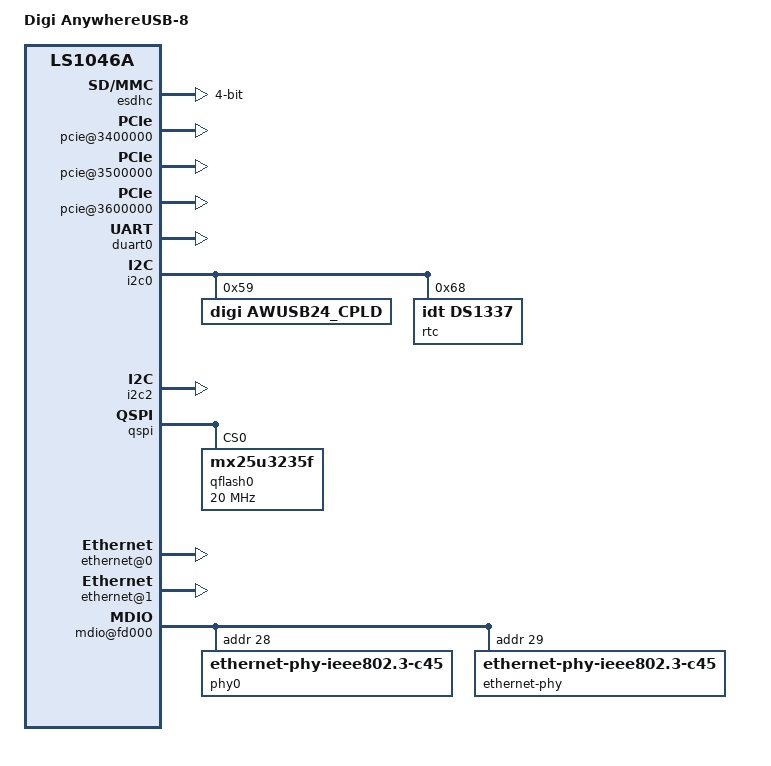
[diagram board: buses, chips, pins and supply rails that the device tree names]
// SPDX-License-Identifier: (GPL-2.0+ OR MIT)
/*
 * Device Tree Include file for Digi AnywhereUSB-8.
 *
 * Copyright 2016 Freescale Semiconductor, Inc.
 * Copyright 2018 Digi Inc.
 *
 * Mingkai Hu <mingkai.hu@nxp.com>
 * Greg Ungerer <gregory.ungerer@digi.com>
 */

/dts-v1/;

#include "fsl-ls1046a.dtsi"
#include <dt-bindings/interrupt-controller/arm-gic.h>
#include <dt-bindings/gpio/gpio.h>

/ {
	model = "Digi AnywhereUSB-8";
	compatible = "digi,anywhereusb8", "fsl,ls1046a";

	aliases {
		serial0 = &duart0;
		serial1 = &duart1;
		serial2 = &duart2;
		serial3 = &duart3;
	};

	chosen {
		stdout-path = "serial0:115200n8";
	};

	soc {
		esdhc: esdhc@1560000 {
			compatible = "fsl,ls1046a-esdhc", "fsl,esdhc";
			reg = <0x0 0x1560000 0x0 0x10000>;
			interrupts = <GIC_SPI 62 IRQ_TYPE_LEVEL_HIGH>;
			clocks = <&clockgen 2 1>;
			voltage-ranges = <1800 1800 3300 3300>;
			sdhci,auto-cmd12;
			big-endian;
			bus-width = <4>;
		};

		 pcie@3400000 {
			compatible = "fsl,ls1046a-pcie", "snps,dw-pcie";
			status = "okay";
			num-ib-windows = <6>;
			num-ob-windows = <6>;
		 };
		 pcie@3500000 {
			compatible = "fsl,ls1046a-pcie", "snps,dw-pcie";
			status = "okay";
			num-ib-windows = <6>;
			num-ob-windows = <6>;
		 };
		 pcie@3600000 {
			compatible = "fsl,ls1046a-pcie", "snps,dw-pcie";
			status = "okay";
			num-ib-windows = <6>;
			num-ob-windows = <6>;
		 };

		usb0: usb@2f00000 {
			usb3-lpm-capable;
			snps,dis-u1u2-when-u3-quirk;
			snps,incr-burst-type-adjustment = <1>, <4>, <8>, <16>;
			clock-names = "ref", "bus_early", "suspend";
			clocks = <&clockgen 4 1>, <&clockgen 4 1>,<&clockgen 4 1>;
		};

		usb1: usb@3000000 {
			usb3-lpm-capable;
			snps,dis-u1u2-when-u3-quirk;
			snps,incr-burst-type-adjustment = <1>, <4>, <8>, <16>;
			clock-names = "ref", "bus_early", "suspend";
			clocks = <&clockgen 4 1>, <&clockgen 4 1>,<&clockgen 4 1>;
		};

		usb2: usb@3100000 {
			usb3-lpm-capable;
			snps,dis-u1u2-when-u3-quirk;
			snps,incr-burst-type-adjustment = <1>, <4>, <8>, <16>;
			clock-names = "ref", "bus_early", "suspend";
			clocks = <&clockgen 4 1>, <&clockgen 4 1>,<&clockgen 4 1>;
		};
	};
};

&duart0 {
	status = "okay";
	/*dtr-gpios = <&gpio0 27 GPIO_ACTIVE_LOW>;
	dsr-gpios = <&gpio0 29 GPIO_ACTIVE_LOW>;
	dcd-gpios = <&gpio0 28 GPIO_ACTIVE_LOW>;
	rng-gpios = <&gpio0 30 GPIO_ACTIVE_LOW>;
	uart-has-rtscts;*/
};

&i2c0 {
	status = "okay";
	awusb24_cpld@59 {
		compatible = "digi,awusb24_cpld";
		reg = <0x59>;
		fan1r {
		    name = "fan1r";
		    reg = /bits/ 8 <0x32>;
		    led = /bits/ 8 <0x04>;
		    linux,default-trigger = "timer";
		};
		fan1g {
		    name = "fan1g";
		    reg = /bits/ 8 <0x32>;
		    led = /bits/ 8 <0x02>;
		    linux,default-trigger = "timer";
		};
		fan2r {
		    name = "fan2r";
		    reg = /bits/ 8 <0x33>;
		    led = /bits/ 8 <0x04>;
		    linux,default-trigger = "timer";
		};
		fan2g {
		    name = "fan2g";
		    reg = /bits/ 8 <0x33>;
		    led = /bits/ 8 <0x02>;
		    linux,default-trigger = "timer";
		};
		wansigr {
		    name = "wansigr";
		    reg = /bits/ 8 <0x34>;
		    led = /bits/ 8 <0x04>;
		    linux,default-trigger = "timer";
		};
		wansigg {
		    name = "wansigg";
		    reg = /bits/ 8 <0x34>;
		    led = /bits/ 8 <0x02>;
		    linux,default-trigger = "timer";
		};
		wanserr {
		    name = "wanserr";
		    reg = /bits/ 8 <0x35>;
		    led = /bits/ 8 <0x04>;
		    linux,default-trigger = "timer";
		};
		wanserg {
		    name = "wanserg";
		    reg = /bits/ 8 <0x35>;
		    led = /bits/ 8 <0x02>;
		    linux,default-trigger = "timer";
		};
		wifir {
		    name = "wifir";
		    reg = /bits/ 8 <0x36>;
		    led = /bits/ 8 <0x04>;
		    linux,default-trigger = "timer";
		};
		wifig {
		    name = "wifig";
		    reg = /bits/ 8 <0x36>;
		    led = /bits/ 8 <0x02>;
		    linux,default-trigger = "timer";
		};
		usrr {
		    name = "usrr";
		    reg = /bits/ 8 <0x37>;
		    led = /bits/ 8 <0x04>;
		    linux,default-trigger = "timer";
		};
		usrg {
		    name = "usrg";
		    reg = /bits/ 8 <0x37>;
		    led = /bits/ 8 <0x02>;
		    linux,default-trigger = "timer";
		};
		r01 {
		    name = "r01";
		    reg = /bits/ 8 <0x38>;
		    led = /bits/ 8 <0x04>;
		    linux,default-trigger = "timer";
		};
		g01 {
		    name = "g01";
		    reg = /bits/ 8 <0x38>;
		    led = /bits/ 8 <0x02>;
		    linux,default-trigger = "timer";
		};
		b01 {
		    name = "b01";
		    reg = /bits/ 8 <0x38>;
		    led = /bits/ 8 <0x01>;
		    linux,default-trigger = "timer";
		};
		r02 {
		    name = "r02";
		    reg = /bits/ 8 <0x39>;
		    led = /bits/ 8 <0x04>;
		    linux,default-trigger = "timer";
		};
		g02 {
		    name = "g02";
		    reg = /bits/ 8 <0x39>;
		    led = /bits/ 8 <0x02>;
		    linux,default-trigger = "timer";
		};
		b02 {
		    name = "b02";
		    reg = /bits/ 8 <0x39>;
		    led = /bits/ 8 <0x01>;
		    linux,default-trigger = "timer";
		};
		r03 {
		    name = "r03";
		    reg = /bits/ 8 <0x3a>;
		    led = /bits/ 8 <0x04>;
		    linux,default-trigger = "timer";
		};
		g03 {
		    name = "g03";
		    reg = /bits/ 8 <0x3a>;
		    led = /bits/ 8 <0x02>;
		    linux,default-trigger = "timer";
		};
		b03 {
		    name = "b03";
		    reg = /bits/ 8 <0x3a>;
		    led = /bits/ 8 <0x01>;
		    linux,default-trigger = "timer";
		};
		r04 {
		    name = "r04";
		    reg = /bits/ 8 <0x3b>;
		    led = /bits/ 8 <0x04>;
		    linux,default-trigger = "timer";
		};
		g04 {
		    name = "g04";
		    reg = /bits/ 8 <0x3b>;
		    led = /bits/ 8 <0x02>;
		    linux,default-trigger = "timer";
		};
		b04 {
		    name = "b04";
		    reg = /bits/ 8 <0x3b>;
		    led = /bits/ 8 <0x01>;
		    linux,default-trigger = "timer";
		};
		r05 {
		    name = "r05";
		    reg = /bits/ 8 <0x3c>;
		    led = /bits/ 8 <0x04>;
		    linux,default-trigger = "timer";
		};
		g05 {
		    name = "g05";
		    reg = /bits/ 8 <0x3c>;
		    led = /bits/ 8 <0x02>;
		    linux,default-trigger = "timer";
		};
		b05 {
		    name = "b05";
		    reg = /bits/ 8 <0x3c>;
		    led = /bits/ 8 <0x01>;
		    linux,default-trigger = "timer";
		};
		r06 {
		    name = "r06";
		    reg = /bits/ 8 <0x3d>;
		    led = /bits/ 8 <0x04>;
		    linux,default-trigger = "timer";
		};
		g06 {
		    name = "g06";
		    reg = /bits/ 8 <0x3d>;
		    led = /bits/ 8 <0x02>;
		    linux,default-trigger = "timer";
		};
		b06 {
		    name = "b06";
		    reg = /bits/ 8 <0x3d>;
		    led = /bits/ 8 <0x01>;
		    linux,default-trigger = "timer";
		};
		r07 {
		    name = "r07";
		    reg = /bits/ 8 <0x3e>;
		    led = /bits/ 8 <0x04>;
		    linux,default-trigger = "timer";
		};
		g07 {
		    name = "g07";
		    reg = /bits/ 8 <0x3e>;
		    led = /bits/ 8 <0x02>;
		    linux,default-trigger = "timer";
		};
		b07 {
		    name = "b07";
		    reg = /bits/ 8 <0x3e>;
		    led = /bits/ 8 <0x01>;
		    linux,default-trigger = "timer";
		};
		r08 {
		    name = "r08";
		    reg = /bits/ 8 <0x3f>;
		    led = /bits/ 8 <0x04>;
		    linux,default-trigger = "timer";
		};
		g08 {
		    name = "g08";
		    reg = /bits/ 8 <0x3f>;
		    led = /bits/ 8 <0x02>;
		    linux,default-trigger = "timer";
		};
		b08 {
		    name = "b08";
		    reg = /bits/ 8 <0x3f>;
		    led = /bits/ 8 <0x01>;
		    linux,default-trigger = "timer";
		};
		r09 {
		    name = "r09";
		    reg = /bits/ 8 <0x40>;
		    led = /bits/ 8 <0x04>;
		    linux,default-trigger = "timer";
		};
		g09 {
		    name = "g09";
		    reg = /bits/ 8 <0x40>;
		    led = /bits/ 8 <0x02>;
		    linux,default-trigger = "timer";
		};
		b09 {
		    name = "b09";
		    reg = /bits/ 8 <0x40>;
		    led = /bits/ 8 <0x01>;
		    linux,default-trigger = "timer";
		};
		r10 {
		    name = "r10";
		    reg = /bits/ 8 <0x41>;
		    led = /bits/ 8 <0x04>;
		    linux,default-trigger = "timer";
		};
		g10 {
		    name = "g10";
		    reg = /bits/ 8 <0x41>;
		    led = /bits/ 8 <0x02>;
		    linux,default-trigger = "timer";
		};
		b10 {
		    name = "b10";
		    reg = /bits/ 8 <0x41>;
		    led = /bits/ 8 <0x01>;
		    linux,default-trigger = "timer";
		};
		r11 {
		    name = "r11";
		    reg = /bits/ 8 <0x42>;
		    led = /bits/ 8 <0x04>;
		    linux,default-trigger = "timer";
		};
		g11 {
		    name = "g11";
		    reg = /bits/ 8 <0x42>;
		    led = /bits/ 8 <0x02>;
		    linux,default-trigger = "timer";
		};
		b11 {
		    name = "b11";
		    reg = /bits/ 8 <0x42>;
		    led = /bits/ 8 <0x01>;
		    linux,default-trigger = "timer";
		};
		r12 {
		    name = "r12";
		    reg = /bits/ 8 <0x43>;
		    led = /bits/ 8 <0x04>;
		    linux,default-trigger = "timer";
		};
		g12 {
		    name = "g12";
		    reg = /bits/ 8 <0x43>;
		    led = /bits/ 8 <0x02>;
		    linux,default-trigger = "timer";
		};
		b12 {
		    name = "b12";
		    reg = /bits/ 8 <0x43>;
		    led = /bits/ 8 <0x01>;
		    linux,default-trigger = "timer";
		};
		r13 {
		    name = "r13";
		    reg = /bits/ 8 <0x44>;
		    led = /bits/ 8 <0x04>;
		    linux,default-trigger = "timer";
		};
		g13 {
		    name = "g13";
		    reg = /bits/ 8 <0x44>;
		    led = /bits/ 8 <0x02>;
		    linux,default-trigger = "timer";
		};
		b13 {
		    name = "b13";
		    reg = /bits/ 8 <0x44>;
		    led = /bits/ 8 <0x01>;
		    linux,default-trigger = "timer";
		};
		r14 {
		    name = "r14";
		    reg = /bits/ 8 <0x45>;
		    led = /bits/ 8 <0x04>;
		    linux,default-trigger = "timer";
		};
		g14 {
		    name = "g14";
		    reg = /bits/ 8 <0x45>;
		    led = /bits/ 8 <0x02>;
		    linux,default-trigger = "timer";
		};
		b14 {
		    name = "b14";
		    reg = /bits/ 8 <0x45>;
		    led = /bits/ 8 <0x01>;
		    linux,default-trigger = "timer";
		};
		r15 {
		    name = "r15";
		    reg = /bits/ 8 <0x46>;
		    led = /bits/ 8 <0x04>;
		    linux,default-trigger = "timer";
		};
		g15 {
		    name = "g15";
		    reg = /bits/ 8 <0x46>;
		    led = /bits/ 8 <0x02>;
		    linux,default-trigger = "timer";
		};
		b15 {
		    name = "b15";
		    reg = /bits/ 8 <0x46>;
		    led = /bits/ 8 <0x01>;
		    linux,default-trigger = "timer";
		};
		r16 {
		    name = "r16";
		    reg = /bits/ 8 <0x47>;
		    led = /bits/ 8 <0x04>;
		    linux,default-trigger = "timer";
		};
		g16 {
		    name = "g16";
		    reg = /bits/ 8 <0x47>;
		    led = /bits/ 8 <0x02>;
		    linux,default-trigger = "timer";
		};
		b16 {
		    name = "b16";
		    reg = /bits/ 8 <0x47>;
		    led = /bits/ 8 <0x01>;
		    linux,default-trigger = "timer";
		};
		r17 {
		    name = "r17";
		    reg = /bits/ 8 <0x48>;
		    led = /bits/ 8 <0x04>;
		    linux,default-trigger = "timer";
		};
		g17 {
		    name = "g17";
		    reg = /bits/ 8 <0x48>;
		    led = /bits/ 8 <0x02>;
		    linux,default-trigger = "timer";
		};
		b17 {
		    name = "b17";
		    reg = /bits/ 8 <0x48>;
		    led = /bits/ 8 <0x01>;
		    linux,default-trigger = "timer";
		};
		r18 {
		    name = "r18";
		    reg = /bits/ 8 <0x49>;
		    led = /bits/ 8 <0x04>;
		    linux,default-trigger = "timer";
		};
		g18 {
		    name = "g18";
		    reg = /bits/ 8 <0x49>;
		    led = /bits/ 8 <0x02>;
		    linux,default-trigger = "timer";
		};
		b18 {
		    name = "b18";
		    reg = /bits/ 8 <0x49>;
		    led = /bits/ 8 <0x01>;
		    linux,default-trigger = "timer";
		};
		r19 {
		    name = "r19";
		    reg = /bits/ 8 <0x4a>;
		    led = /bits/ 8 <0x04>;
		    linux,default-trigger = "timer";
		};
		g19 {
		    name = "g19";
		    reg = /bits/ 8 <0x4a>;
		    led = /bits/ 8 <0x02>;
		    linux,default-trigger = "timer";
		};
		b19 {
		    name = "b19";
		    reg = /bits/ 8 <0x4a>;
		    led = /bits/ 8 <0x01>;
		    linux,default-trigger = "timer";
		};
		r20 {
		    name = "r20";
		    reg = /bits/ 8 <0x4b>;
		    led = /bits/ 8 <0x04>;
		    linux,default-trigger = "timer";
		};
		g20 {
		    name = "g20";
		    reg = /bits/ 8 <0x4b>;
		    led = /bits/ 8 <0x02>;
		    linux,default-trigger = "timer";
		};
		b20 {
		    name = "b20";
		    reg = /bits/ 8 <0x4b>;
		    led = /bits/ 8 <0x01>;
		    linux,default-trigger = "timer";
		};
		r21 {
		    name = "r21";
		    reg = /bits/ 8 <0x4c>;
		    led = /bits/ 8 <0x04>;
		    linux,default-trigger = "timer";
		};
		g21 {
		    name = "g21";
		    reg = /bits/ 8 <0x4c>;
		    led = /bits/ 8 <0x02>;
		    linux,default-trigger = "timer";
		};
		b21 {
		    name = "b21";
		    reg = /bits/ 8 <0x4c>;
		    led = /bits/ 8 <0x01>;
		    linux,default-trigger = "timer";
		};
		r22 {
		    name = "r22";
		    reg = /bits/ 8 <0x4d>;
		    led = /bits/ 8 <0x04>;
		    linux,default-trigger = "timer";
		};
		g22 {
		    name = "g22";
		    reg = /bits/ 8 <0x4d>;
		    led = /bits/ 8 <0x02>;
		    linux,default-trigger = "timer";
		};
		b22 {
		    name = "b22";
		    reg = /bits/ 8 <0x4d>;
		    led = /bits/ 8 <0x01>;
		    linux,default-trigger = "timer";
		};
		r23 {
		    name = "r23";
		    reg = /bits/ 8 <0x4e>;
		    led = /bits/ 8 <0x04>;
		    linux,default-trigger = "timer";
		};
		g23 {
		    name = "g23";
		    reg = /bits/ 8 <0x4e>;
		    led = /bits/ 8 <0x02>;
		    linux,default-trigger = "timer";
		};
		b23 {
		    name = "b23";
		    reg = /bits/ 8 <0x4e>;
		    led = /bits/ 8 <0x01>;
		    linux,default-trigger = "timer";
		};
		r24 {
		    name = "r24";
		    reg = /bits/ 8 <0x4f>;
		    led = /bits/ 8 <0x04>;
		    linux,default-trigger = "timer";
		};
		g24 {
		    name = "g24";
		    reg = /bits/ 8 <0x4f>;
		    led = /bits/ 8 <0x02>;
		    linux,default-trigger = "timer";
		};
		b24 {
		    name = "b24";
		    reg = /bits/ 8 <0x4f>;
		    led = /bits/ 8 <0x01>;
		    linux,default-trigger = "timer";
		};
	};

	rtc@51 {
		compatible = "idt,ds1337";
		reg = <0x68>;
	};
};

&i2c2 {
	status = "okay";
};

&qspi {
	num-cs = <1>;
	bus-num = <0>;
	status = "okay";

	qflash0: mx25u3235f@0 {
		#address-cells = <1>;
		#size-cells = <1>;
		spi-max-frequency = <20000000>;
		reg = <0>;
	};
};

&soc {
#include "qoriq-fman3-0.dtsi"
#include "qoriq-fman3-0-1g-0.dtsi"
#include "qoriq-fman3-0-1g-1.dtsi"
#include "qoriq-fman3-0-1g-2.dtsi"
#include "qoriq-fman3-0-1g-3.dtsi"
#include "qoriq-fman3-0-1g-4.dtsi"
#include "qoriq-fman3-0-1g-5.dtsi"
#include "qoriq-fman3-0-10g-0.dtsi"
#include "qoriq-fman3-0-10g-1.dtsi"

	fsldpaa: fsl,dpaa {
		compatible = "fsl,ls1043a-dpaa", "simple-bus", "fsl,dpaa";
		ethernet@0 {
			compatible = "fsl,dpa-ethernet";
			fsl,fman-mac = <&enet0>;
			dma-coherent;
		};
		ethernet@1 {
			compatible = "fsl,dpa-ethernet";
			fsl,fman-mac = <&enet1>;
			dma-coherent;
		};
	};
};

&fman0 {
	enet0: ethernet@f0000 {
		phy-handle = <&phy0>;
		phy-connection-type = "xgmii";
	};

	enet1: ethernet@f2000 {
		phy-connection-type = "xgmii";
	};

	enet2: ethernet@e0000 {
		status = "disabled";
	};

	enet3: ethernet@e2000 {
		status = "disabled";
	};

	enet4: ethernet@e4000 {
		status = "disabled";
	};

	enet5: ethernet@e6000 {
		status = "disabled";
	};

	enet6: ethernet@e8000 {
		status = "disabled";
	};

	enet7: ethernet@ea000 {
		status = "disabled";
	};

	mdio@fd000 {
		phy0: ethernet-phy@0 {
			compatible = "ethernet-phy-ieee802.3-c45";
			reg = <28>;
		};

		ethernet-phy@1 {
			compatible = "ethernet-phy-ieee802.3-c45";
			reg = <29>;
		};
	};
};

